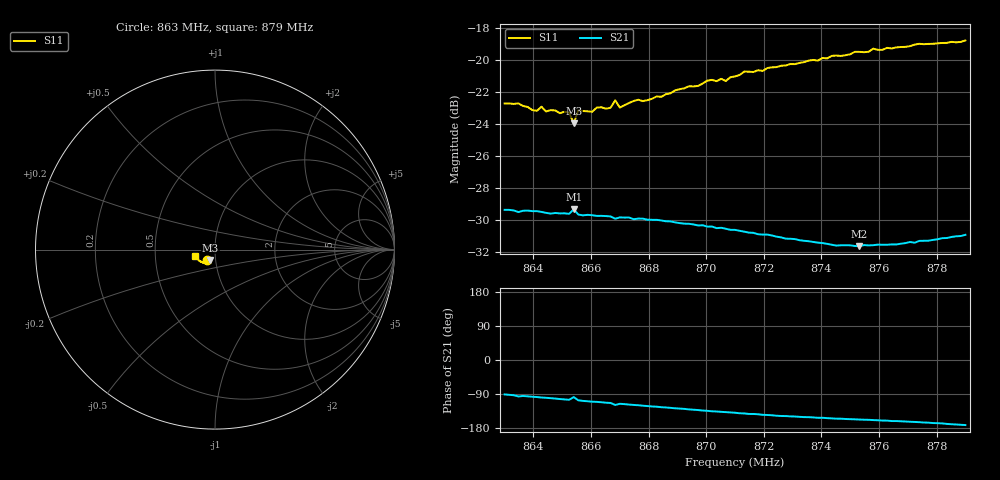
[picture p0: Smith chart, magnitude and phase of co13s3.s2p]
# HZ S RI R 50
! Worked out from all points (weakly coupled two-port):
!   101 points, 863 MHz to 879 MHz, reference 50 ohm
!   highest |S21| = -29.35 dB at 865.4 MHz (marker M1); lowest = -31.6 dB at 875.32 MHz (marker M2)
!   lowest |S11| = -24.0 dB at 865.4 MHz (marker M3), VSWR 1.14, Z = 47.1 - j5.44 ohm
!   |S11| at or under -10 dB: start of sweep to end of sweep
!   S12 and S22 are empty: the file has one direction only
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8.63e8  -0.046 -0.0567  -0.00046 -0.034  0 0  0 0
8.6348e8  -0.046 -0.0568  -0.00361 -0.0332  0 0  0 0
8.6412e8  -0.0412 -0.0556  -0.00454 -0.0333  0 0  0 0
8.6428e8  -0.0408 -0.0585  -0.00521 -0.0331  0 0  0 0
8.6444e8  -0.0404 -0.0559  -0.00559 -0.0328  0 0  0 0
8.6524e8  -0.0385 -0.0564  -0.00858 -0.0319  0 0  0 0
8.654e8  -0.0265 -0.0575  -0.00469 -0.0338  0 0  0 0
8.6556e8  -0.0383 -0.058  -0.00929 -0.0315  0 0  0 0
8.6572e8  -0.037 -0.0584  -0.01 -0.0311  0 0  0 0
8.6668e8  -0.0357 -0.0611  -0.0128 -0.0297  0 0  0 0
8.6684e8  -0.0419 -0.0619  -0.0153 -0.0279  0 0  0 0
8.67e8  -0.0366 -0.0607  -0.0139 -0.029  0 0  0 0
8.6764e8  -0.0379 -0.0647  -0.0157 -0.0278  0 0  0 0
8.6844e8  -0.0381 -0.0664  -0.0179 -0.0259  0 0  0 0
8.7004e8  -0.047 -0.0721  -0.021 -0.0216  0 0  0 0
8.7068e8  -0.0475 -0.0715  -0.0219 -0.02  0 0  0 0
8.71e8  -0.0504 -0.073  -0.0223 -0.0192  0 0  0 0
8.7132e8  -0.0545 -0.074  -0.0226 -0.0183  0 0  0 0
8.7372e8  -0.069 -0.0721  -0.0237 -0.0128  0 0  0 0
8.7532e8  -0.0831 -0.0655  -0.0241 -0.0102  0 0  0 0
8.7644e8  -0.0913 -0.0584  -0.0251 -0.00859  0 0  0 0
8.79e8  -0.1087 -0.0371  -0.0281 -0.00409  0 0  0 0
